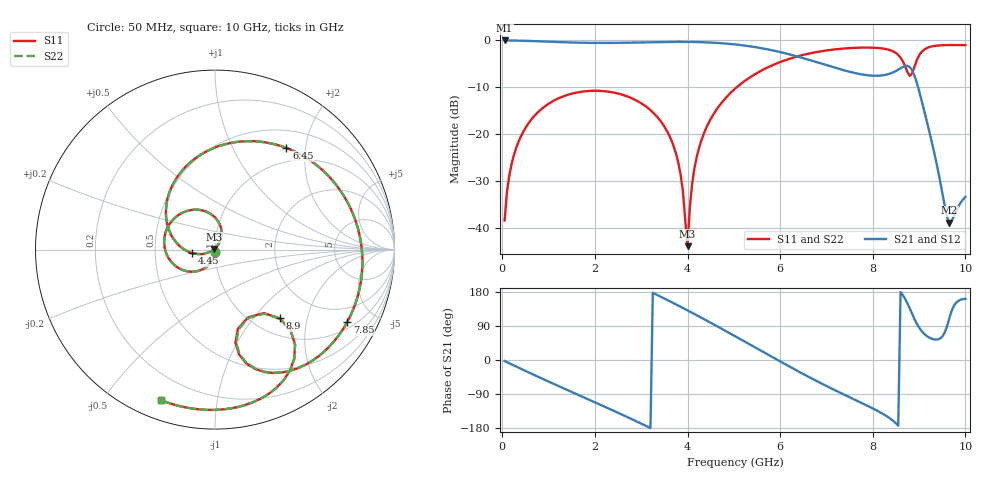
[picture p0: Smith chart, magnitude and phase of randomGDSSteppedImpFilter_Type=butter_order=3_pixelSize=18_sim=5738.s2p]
! freq	dB(S11)	phase(S11)	dB(S12)	phase(S12)
!  dB(S21)	phase(S21)	dB(S22)	phase(S22)
!S-par simulation data
#  GHz  S  DB  R 50
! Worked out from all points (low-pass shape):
!   200 points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, 50 MHz to 10 GHz, reference 50 ohm
!   highest |S21| = 0.00 dB at 50 MHz (marker M1); lowest = -38.8 dB at 9.65 GHz (marker M2)
!   |S21| within 3 dB of the highest: start of sweep to 6.217 GHz
!   lowest |S11| = -43.8 dB at 4 GHz (marker M3), VSWR 1.01, Z = 49.5 + j0.338 ohm
!   |S11| at or under -10 dB: start of sweep to 5.057 GHz
!   |S22| runs from -42.9 to -1.0 dB; largest |S21 - S12| = 0
!   S11 on the Smith chart (normalised r, x): 50 MHz: 1.00, -0.02; 4.45 GHz: 0.77, -0.03; 6.45 GHz: 0.76, +1.66; 7.85 GHz: 1.26, -3.46; 8.9 GHz: 1.30, -1.38; 10 GHz: 0.09, -0.70
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0.05  -38.32 -92.6  -0.00 -2.9  -0.00 -2.9  -38.32 -92.6
0.2  -26.33 -101.6  -0.01 -11.6  -0.01 -11.6  -26.33 -101.6
0.5  -18.62 -119.0  -0.08 -28.8  -0.08 -28.8  -18.62 -119.0
1.15  -12.62 -155.8  -0.32 -65.3  -0.32 -65.3  -12.62 -155.8
1.75  -10.86 171.3  -0.49 -98.1  -0.49 -98.1  -10.86 171.3
2.7  -11.92 119.1  -0.48 -150.6  -0.48 -150.6  -11.92 119.2
3.4  -16.93 79.1  -0.34 168.4  -0.34 168.4  -16.93 79.3
3.8  -25.97 58.2  -0.29 143.6  -0.29 143.6  -25.95 59.1
4  -43.78 148.1  -0.30 130.9  -0.30 130.9  -42.92 146.5
4.15  -27.15 -156.5  -0.32 121.3  -0.32 121.3  -27.13 -157.7
4.45  -17.67 -171.7  -0.42 101.6  -0.42 101.6  -17.67 -172.1
5.05  -10.06 149.3  -0.87 61.2  -0.87 61.2  -10.06 149.1
5.7  -5.88 105.2  -1.84 16.7  -1.84 16.7  -5.88 105.1
6.45  -3.19 54.9  -3.63 -33.8  -3.63 -33.8  -3.19 54.9
6.7  -2.63 38.9  -4.35 -49.9  -4.35 -49.9  -2.63 38.9
7.85  -1.51 -28.8  -7.36 -118.7  -7.36 -118.7  -1.51 -28.7
8.35  -1.99 -58.2  -7.13 -152.3  -7.13 -152.3  -1.99 -57.9
8.7  -5.53 -77.6  -5.43 160.9  -5.43 160.9  -5.49 -77.2
8.9  -5.60 -46.7  -7.49 108.1  -7.49 108.1  -5.55 -46.8
9.25  -1.33 -69.7  -20.60 57.2  -20.60 57.2  -1.32 -69.7
9.65  -0.97 -92.9  -38.77 109.0  -38.77 109.0  -0.97 -92.8
10  -1.00 -109.8  -33.30 161.4  -33.30 161.4  -1.00 -109.6
